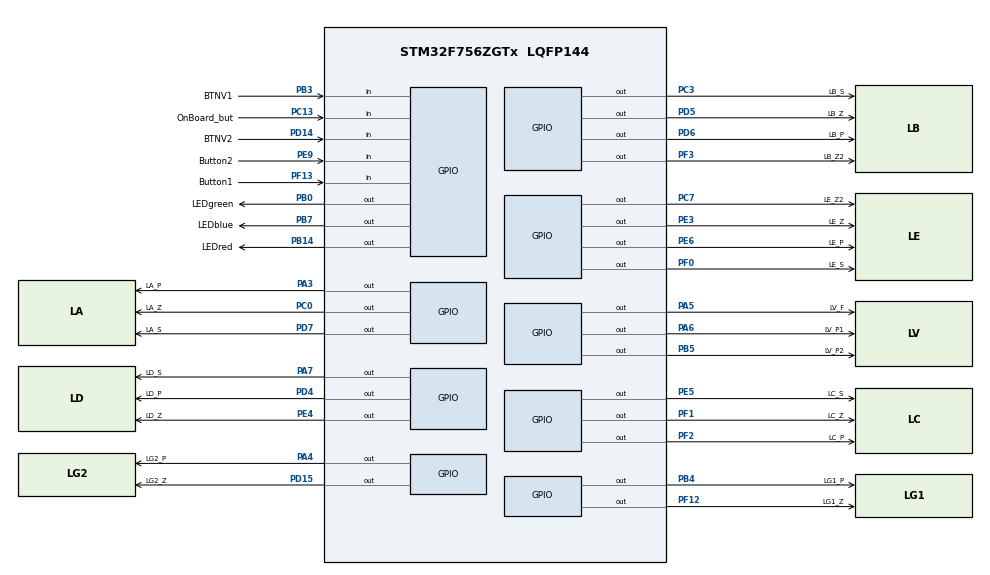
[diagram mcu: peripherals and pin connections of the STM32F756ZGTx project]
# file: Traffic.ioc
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CORTEX_M7.default_mode_Activation=1
Mcu.Family=STM32F7
Mcu.Name=STM32F756ZGTx
Mcu.Package=LQFP144
NVIC.PriorityGroup=NVIC_PRIORITYGROUP_4
NVIC.TIM2_IRQn=true\:0\:0\:false\:false\:true\:true\:true\:true
NVIC.TIM4_IRQn=true\:0\:0\:false\:false\:true\:true\:true\:true
PA3.GPIO_Label=LA_P
PA3.Signal=GPIO_Output
PA4.GPIO_Label=LG2_P
PA4.Signal=GPIO_Output
PA5.GPIO_Label=LV_F
PA5.Signal=GPIO_Output
PA6.GPIO_Label=LV_P1
PA6.Signal=GPIO_Output
PA7.GPIO_Label=LD_S
PA7.Signal=GPIO_Output
PB0.GPIO_Label=LEDgreen
PB0.Signal=GPIO_Output
PB14.GPIO_Label=LEDred
PB14.Signal=GPIO_Output
PB3.GPIO_Label=BTNV1
PB3.GPIO_PuPd=GPIO_NOPULL
PB3.Signal=GPIO_Input
PB4.GPIO_Label=LG1_P
PB4.Signal=GPIO_Output
PB5.GPIO_Label=LV_P2
PB5.Signal=GPIO_Output
PB7.GPIO_Label=LEDblue
PB7.Signal=GPIO_Output
PC0.GPIO_Label=LA_Z
PC0.Signal=GPIO_Output
PC13.GPIO_Label=OnBoard_but
PC13.GPIO_PuPd=GPIO_NOPULL
PC13.Signal=GPIO_Input
PC3.GPIO_Label=LB_S
PC3.Signal=GPIO_Output
PC7.GPIO_Label=LE_Z2
PC7.Signal=GPIO_Output
PD14.GPIO_Label=BTNV2
PD14.GPIO_PuPd=GPIO_NOPULL
PD14.Signal=GPIO_Input
PD15.GPIO_Label=LG2_Z
PD15.Signal=GPIO_Output
PD4.GPIO_Label=LD_P
PD4.Signal=GPIO_Output
PD5.GPIO_Label=LB_Z
PD5.Signal=GPIO_Output
PD6.GPIO_Label=LB_P
PD6.Signal=GPIO_Output
PD7.GPIO_Label=LA_S
PD7.Signal=GPIO_Output
PE3.GPIO_Label=LE_Z
PE3.Signal=GPIO_Output
PE4.GPIO_Label=LD_Z
PE4.Signal=GPIO_Output
PE5.GPIO_Label=LC_S
PE5.Signal=GPIO_Output
PE6.GPIO_Label=LE_P
PE6.Signal=GPIO_Output
PE9.GPIO_Label=Button2
PE9.GPIO_PuPd=GPIO_PULLUP
PE9.Signal=GPIO_Input
PF0.GPIO_Label=LE_S
PF0.Signal=GPIO_Output
PF1.GPIO_Label=LC_Z
PF1.Signal=GPIO_Output
PF12.GPIO_Label=LG1_Z
PF12.Signal=GPIO_Output
PF13.GPIO_Label=Button1
PF13.GPIO_PuPd=GPIO_PULLUP
PF13.Signal=GPIO_Input
PF2.GPIO_Label=LC_P
PF2.Signal=GPIO_Output
PF3.GPIO_Label=LB_Z2
PF3.Signal=GPIO_Output
ProjectManager.HeapSize=0x200
ProjectManager.StackSize=0x400
ProjectManager.TargetToolchain=TrueSTUDIO
RCC.HSE_VALUE=25000000
RCC.HSI_VALUE=16000000
RCC.LSE_VALUE=32768
RCC.USBFreq_Value=96000000
RCC.VCOOutputFreq_Value=192000000
TIM2.Period=4999
TIM2.Prescaler=1599
TIM4.Period=1
TIM4.Prescaler=1599
VP_TIM2_VS_ClockSourceINT.Mode=Internal
VP_TIM4_VS_ClockSourceINT.Mode=Internal
board=custom

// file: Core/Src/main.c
/* USER CODE BEGIN Header */
/**
  ******************************************************************************
  * @file           : main.c
  * @brief          : Main program body
  ******************************************************************************
  * @attention
  *
  * Copyright (c) 2022 STMicroelectronics.
  * All rights reserved.
  *
  * This software is licensed under terms that can be found in the LICENSE file
  * in the root directory of this software component.
  * If no LICENSE file comes with this software, it is provided AS-IS.
  ***-
  ******************************************************************************
  */
/* USER CODE END Header */
#include "main.h"

TIM_HandleTypeDef htim2;
TIM_HandleTypeDef htim4;

/* USER CODE BEGIN PV */
typedef struct allapotok
{
	uint8_t led_a_p;
	uint8_t led_a_s;
	uint8_t led_a_z;

	uint8_t led_b_p;
	uint8_t led_b_s;
	uint8_t led_b_z;
	uint8_t led_b_z2;

	uint8_t led_c_p;
	uint8_t led_c_s;
	uint8_t led_c_z;

	uint8_t led_d_p;
	uint8_t led_d_s;
	uint8_t led_d_z;

	uint8_t led_e_p;
	uint8_t led_e_s;
	uint8_t led_e_z;
	uint8_t led_e_z2;

	uint8_t led_g1_p;
	uint8_t led_g1_z;

	uint8_t led_g2_p;
	uint8_t led_g2_z;

	uint8_t led_v_p1;
	uint8_t led_v_p2;
	uint8_t led_v_f;

	uint8_t szamlalo;
	uint8_t szamlalo_tmp;

}allapot;

typedef struct pwm_allapotok
{
	uint8_t led_g1_z;
	uint8_t led_g2_z;
	uint8_t led_v_p1;
	uint8_t led_v_p2;
	uint8_t led_v_f;

}pwm_allapot;

pwm_allapot led_pwm_allapot={0,0,0,0,1};

//     		a_p,a_s,a_z,b_p,b_s,b_z,b_z2,c_p,c_s,c_z,d_p,d_s,d_z,e_p,e_s,e_z,e_z2,g1_p,g1_z,g2_p,g2_z,v_p1,v_p2,v_f
allapot nappali[10]={
	 /*0*/ {1,  0,  0,  1,  0,  0,  0,   1,  0,  0,  1,  0,  0,  1,  0,  0,  0,   1,   0,   1,   0,   0,   0,   0,  4,  0 },
	 /*9*/ {1,  1,  0,  0,  1,  0,  0,   1,  0,  0,  0,  1,  0,  1,  0,  0,  0,   1,   0,   1,   0,   0,   0,   0,  2,  0 },
	 /*1*/ {0,  0,  1,  1,  0,  0,  0,   1,  0,  0,  1,  0,  0,  1,  0,  0,  0,   0,   1,   1,   0,   0,   0,   0,  10,  0 },
	 /*2*/ {0,  1,  0,  1,  0,  0,  0,   1,  0,  0,  1,  0,  0,  1,  0,  0,  0,   0,   2,   1,   0,   0,   0,   0,  2,  0 },
	 /*3*/ {0,  1,  0,  1,  0,  0,  0,   1,  1,  0,  1,  0,  0,  1,  1,  0,  0,   0,   2,   1,   0,   0,   0,   0,  2,  0 },
	 /*4*/ {1,  0,  0,  1,  0,  0,  0,   0,  0,  1,  1,  0,  0,  0,  0,  1,  1,   1,   0,   0,   1,   0,   0,   0,  10,  0 },
	 /*5*/ {1,  0,  0,  1,  0,  0,  0,   0,  1,  0,  1,  0,  0,  0,  1,  0,  0,   1,   0,   0,   2,   0,   0,   0,  2,  0 },
	 /*6*/ {1,  0,  0,  1,  1,  0,  0,   0,  1,  0,  1,  1,  0,  0,  1,  0,  0,   1,   0,   0,   2,   0,   0,   0,  2,  0 },
	 /*7*/ {1,  0,  0,  0,  0,  1,  1,   1,  0,  0,  0,  0,  1,  1,  0,  0,  0,   1,   0,   1,   0,   0,   0,   0,  10,  0 },
	 /*8*/ {1,  0,  0,  0,  1,  0,  0,   1,  0,  0,  0,  1,  0,  1,  0,  0,  0,   1,   0,   1,   0,   0,   0,   0,  2,  0 }

};

allapot nappali_v[10]={
				/*0*/ {1,  0,  0,  1,  0,  0,  0,   1,  0,  0,  1,  0,  0,  1,  0,  0,  0,   1,   0,   1,   0,   0,   0,   0,  4,  0 },
				/*9*/ {1,  1,  0,  0,  1,  0,  0,   1,  0,  0,  0,  1,  0,  1,  0,  0,  0,   1,   0,   1,   0,   0,   0,   0,  2,  0 },
				/*1*/ {0,  0,  1,  1,  0,  0,  0,   1,  0,  0,  1,  0,  0,  1,  0,  0,  0,   0,   1,   1,   0,   0,   0,   0,  10,  0 },
				/*2*/ {0,  1,  0,  1,  0,  0,  0,   1,  0,  0,  1,  0,  0,  1,  0,  0,  0,   0,   2,   1,   0,   0,   0,   0,  2,  0 },
				/*3*/ {0,  1,  0,  1,  0,  0,  0,   1,  1,  0,  1,  0,  0,  1,  1,  0,  0,   0,   2,   1,   0,   0,   0,   0,  2,  0 },
				/*4*/ {1,  0,  0,  1,  0,  0,  0,   0,  0,  1,  1,  0,  0,  0,  0,  1,  0,   1,   0,   0,   1,   0,   0,   0,  10,  0 },
				/*5*/ {1,  0,  0,  1,  0,  0,  0,   0,  1,  0,  1,  0,  0,  0,  1,  0,  0,   1,   0,   0,   2,   0,   0,   0,  2,  0 },
				/*6*/ {1,  0,  0,  1,  1,  0,  0,   0,  1,  0,  1,  1,  0,  0,  1,  0,  0,   1,   0,   0,   2,   0,   0,   0,  2,  0 },
				/*7*/ {1,  0,  0,  0,  0,  0,  1,   1,  0,  0,  0,  0,  1,  1,  0,  0,  0,   1,   0,   1,   0,   0,   0,   0,  10,  0 },
				/*8*/ {1,  0,  0,  0,  1,  0,  0,   1,  0,  0,  0,  1,  0,  1,  0,  0,  0,   1,   0,   1,   0,   0,   0,   0,  2,  0 }

				 };
int i=0;
uint8_t pwm1=0;
uint8_t pwm2=0;
uint16_t timer0_counter=0;
uint8_t timer0_counter_1=0;
uint8_t timer0_counter_2=0;
uint8_t regi_gomb=0;
uint8_t Jon_a_vonat=0;;//1-> jon a vonat, 0->nincs vonat
uint8_t mod_valasztas=1;//1-> nappali, 0->ejszakasi

/* USER CODE END PV */

void SystemClock_Config(void);
static void MPU_Config(void);
static void MX_GPIO_Init(void);
static void MX_TIM2_Init(void);
static void MX_TIM4_Init(void);
/* USER CODE BEGIN PFP */
void do_traffic(allapot *mod);
void nappali_mod(void);
/* USER CODE END PFP */

/* USER CODE BEGIN 0 */

 if(htim->Instance == htim4.Instance)
  {
	timer0_counter++;
	if(timer0_counter==10000)
		{
			pwm1=0;
			timer0_counter=0;
		}
	if(timer0_counter>5000)
	{
		timer0_counter_1++;
		if(timer0_counter_1==100)
		{
			pwm1++;
			if(pwm1==50) pwm1=0;
			timer0_counter_1=0;
		}
		if(pwm1>timer0_counter_1)
			{
				if(!mod_valasztas)//ejszaka
				{
					HAL_GPIO_WritePin(LA_S_GPIO_Port,LA_S_Pin,1);
					HAL_GPIO_WritePin(LB_S_GPIO_Port,LB_S_Pin,1);
					HAL_GPIO_WritePin(LC_S_GPIO_Port,LC_S_Pin,1);
					HAL_GPIO_WritePin(LD_S_GPIO_Port,LD_S_Pin,1);
					HAL_GPIO_WritePin(LE_S_GPIO_Port,LE_S_Pin,1);
				}
				if (led_pwm_allapot.led_g1_z)
					HAL_GPIO_WritePin(LG1_Z_GPIO_Port,LG1_Z_Pin,1);
				if(led_pwm_allapot.led_g2_z)
					HAL_GPIO_WritePin(LG2_Z_GPIO_Port,LG2_Z_Pin,1);
				if(led_pwm_allapot.led_v_f)
					HAL_GPIO_WritePin(LV_F_GPIO_Port,LV_F_Pin,1);
				if (Jon_a_vonat)
					HAL_GPIO_WritePin(LV_P1_GPIO_Port,LV_P1_Pin,1);
			}
		else
			{
				if(!mod_valasztas)//ejszaka
				{
					HAL_GPIO_WritePin(LA_S_GPIO_Port,LA_S_Pin,0);
					HAL_GPIO_WritePin(LB_S_GPIO_Port,LB_S_Pin,0);
					HAL_GPIO_WritePin(LC_S_GPIO_Port,LC_S_Pin,0);
					HAL_GPIO_WritePin(LD_S_GPIO_Port,LD_S_Pin,0);
					HAL_GPIO_WritePin(LE_S_GPIO_Port,LE_S_Pin,0);
				}
				if (led_pwm_allapot.led_g1_z)
					HAL_GPIO_WritePin(LG1_Z_GPIO_Port,LG1_Z_Pin,0);
				if(led_pwm_allapot.led_g2_z)
					HAL_GPIO_WritePin(LG2_Z_GPIO_Port,LG2_Z_Pin,0);
				if(led_pwm_allapot.led_v_f)
					HAL_GPIO_WritePin(LV_F_GPIO_Port,LV_F_Pin,0);
				if (Jon_a_vonat)
					HAL_GPIO_WritePin(LV_P1_GPIO_Port,LV_P1_Pin,0);
			}

	}
	else
	{
				timer0_counter_2++;
				if(timer0_counter_2==100)
				{
					pwm2++;
					if(pwm2==50) pwm2=0;
					timer0_counter_2=0;
				}
				if(pwm2>timer0_counter_2)
				{
					if(Jon_a_vonat)
					HAL_GPIO_WritePin(LV_P2_GPIO_Port,LV_P2_Pin,1);
				}
				else
				{
					if(Jon_a_vonat)
					HAL_GPIO_WritePin(LV_P2_GPIO_Port,LV_P2_Pin,0);
				}
	}
  }
}
/* USER CODE END 0 */

int main(void)
{

  /* MPU Configuration--------------------------------------------------------*/
  MPU_Config();

  /* MCU Configuration--------------------------------------------------------*/

  /* Reset of all peripherals, Initializes the Flash interface and the Systick. */
  HAL_Init();

  /* Configure the system clock */
  SystemClock_Config();

  /* Initialize all configured peripherals */
  MX_GPIO_Init();
  MX_TIM2_Init();
  MX_TIM4_Init();
  /* USER CODE BEGIN 2 */
  HAL_TIM_Base_Start_IT(&htim2);
  HAL_TIM_Base_Start_IT(&htim4);

  /* USER CODE END 2 */

  /* Infinite loop */
  /* USER CODE BEGIN WHILE */

  uint8_t button_tmp;

  uint8_t regi_vonat_gomb1=0;
  uint8_t vonat_but=0;
  while (1)
  {

	  vonat_but=0;
	  if(!HAL_GPIO_ReadPin(Button1_GPIO_Port,Button1_Pin))
	  {
		  while(!HAL_GPIO_ReadPin(Button1_GPIO_Port,Button1_Pin));
		  vonat_but=1;
	  }

	  if(!HAL_GPIO_ReadPin(Button2_GPIO_Port,Button2_Pin))
	  {
	  	  while(!HAL_GPIO_ReadPin(Button2_GPIO_Port,Button2_Pin));
	  	  vonat_but=2;
	  }
	  if(HAL_GPIO_ReadPin(OnBoard_but_GPIO_Port,OnBoard_but_Pin))
	  {
		  while(HAL_GPIO_ReadPin(OnBoard_but_GPIO_Port,OnBoard_but_Pin));
		  button_tmp=(button_tmp+1)%2;
		  switch(button_tmp)
		  			{
		  				case 0: mod_valasztas=1; i=0; break;
		  				case 1:

		  				HAL_GPIO_WritePin(LA_P_GPIO_Port, LA_P_Pin, 0);
		  				HAL_GPIO_WritePin(LA_S_GPIO_Port, LA_S_Pin, 0);
		  				HAL_GPIO_WritePin(LA_Z_GPIO_Port, LA_Z_Pin, 0);
		  				HAL_GPIO_WritePin(LB_P_GPIO_Port, LB_P_Pin, 0);
		  				HAL_GPIO_WritePin(LB_S_GPIO_Port, LB_S_Pin, 0);
		  				HAL_GPIO_WritePin(LB_Z_GPIO_Port, LB_Z_Pin, 0);
		  				HAL_GPIO_WritePin(LB_Z2_GPIO_Port,LB_Z2_Pin, 0);
		  				HAL_GPIO_WritePin(LD_P_GPIO_Port, LD_P_Pin, 0);
		  				HAL_GPIO_WritePin(LD_S_GPIO_Port, LD_S_Pin, 0);
		  				HAL_GPIO_WritePin(LD_Z_GPIO_Port, LD_Z_Pin, 0);
		  				HAL_GPIO_WritePin(LC_P_GPIO_Port, LC_P_Pin, 0);
		  				HAL_GPIO_WritePin(LC_S_GPIO_Port, LC_S_Pin, 0);
		  				HAL_GPIO_WritePin(LC_Z_GPIO_Port, LC_Z_Pin, 0);
		  				HAL_GPIO_WritePin(LE_P_GPIO_Port, LE_P_Pin, 0);
		  				HAL_GPIO_WritePin(LE_S_GPIO_Port, LE_S_Pin, 0);
		  				HAL_GPIO_WritePin(LE_Z_GPIO_Port, LE_Z_Pin, 0);
		  				HAL_GPIO_WritePin(LE_Z2_GPIO_Port, LE_Z2_Pin, 0);
		  				HAL_GPIO_WritePin(LG1_P_GPIO_Port, LG1_P_Pin, 0);
		  				HAL_GPIO_WritePin(LG2_P_GPIO_Port, LG2_P_Pin, 0);
		  				HAL_GPIO_WritePin(LG1_Z_GPIO_Port, LG1_Z_Pin, 0);
		  				HAL_GPIO_WritePin(LG2_Z_GPIO_Port, LG2_Z_Pin, 0);
		  				mod_valasztas=0; i=0; break;
		  				default: break;
		  			}

	  }

		if(vonat_but)
		{
			if((!Jon_a_vonat)&&(!regi_vonat_gomb1))
			{
				regi_vonat_gomb1=vonat_but;
				Jon_a_vonat=1;
				HAL_GPIO_WritePin(LV_F_GPIO_Port,LV_F_Pin,0);
				led_pwm_allapot.led_v_f=0;
			}
			if(Jon_a_vonat&&(regi_vonat_gomb1!=vonat_but))
			{
				regi_vonat_gomb1=0;
				Jon_a_vonat=0;
				HAL_GPIO_WritePin(LV_P1_GPIO_Port,LV_P1_Pin,0);
				HAL_GPIO_WritePin(LV_P2_GPIO_Port,LV_P2_Pin,0);
				led_pwm_allapot.led_v_f=1;
			}

		}

    /* USER CODE END WHILE */

  }
}

void SystemClock_Config(void)
{
  RCC_OscInitTypeDef RCC_OscInitStruct = {0};
  RCC_ClkInitTypeDef RCC_ClkInitStruct = {0};

  /** Configure the main internal regulator output voltage
  */
  __HAL_RCC_PWR_CLK_ENABLE();
  __HAL_PWR_VOLTAGESCALING_CONFIG(PWR_REGULATOR_VOLTAGE_SCALE3);

  /** Initializes the RCC Oscillators according to the specified parameters
  * in the RCC_OscInitTypeDef structure.
  */
  RCC_OscInitStruct.OscillatorType = RCC_OSCILLATORTYPE_HSI;
  RCC_OscInitStruct.HSIState = RCC_HSI_ON;
  RCC_OscInitStruct.HSICalibrationValue = RCC_HSICALIBRATION_DEFAULT;
  RCC_OscInitStruct.PLL.PLLState = RCC_PLL_NONE;
  if (HAL_RCC_OscConfig(&RCC_OscInitStruct) != HAL_OK)
  {
    Error_Handler();
  }

  /** Initializes the CPU, AHB and APB buses clocks
  */
  RCC_ClkInitStruct.ClockType = RCC_CLOCKTYPE_HCLK|RCC_CLOCKTYPE_SYSCLK
                              |RCC_CLOCKTYPE_PCLK1|RCC_CLOCKTYPE_PCLK2;
  RCC_ClkInitStruct.SYSCLKSource = RCC_SYSCLKSOURCE_HSI;
  RCC_ClkInitStruct.AHBCLKDivider = RCC_SYSCLK_DIV1;
  RCC_ClkInitStruct.APB1CLKDivider = RCC_HCLK_DIV1;
  RCC_ClkInitStruct.APB2CLKDivider = RCC_HCLK_DIV1;

  if (HAL_RCC_ClockConfig(&RCC_ClkInitStruct, FLASH_LATENCY_0) != HAL_OK)
  {
    Error_Handler();
  }
}

static void MX_TIM2_Init(void)
{

  TIM_ClockConfigTypeDef sClockSourceConfig = {0};
  TIM_MasterConfigTypeDef sMasterConfig = {0};

  htim2.Instance = TIM2;
  htim2.Init.Prescaler = 1599;
  htim2.Init.CounterMode = TIM_COUNTERMODE_UP;
  htim2.Init.Period = 4999;
  htim2.Init.ClockDivision = TIM_CLOCKDIVISION_DIV1;
  htim2.Init.AutoReloadPreload = TIM_AUTORELOAD_PRELOAD_DISABLE;
  if (HAL_TIM_Base_Init(&htim2) != HAL_OK)
  {
    Error_Handler();
  }
  sClockSourceConfig.ClockSource = TIM_CLOCKSOURCE_INTERNAL;
  if (HAL_TIM_ConfigClockSource(&htim2, &sClockSourceConfig) != HAL_OK)
  {
    Error_Handler();
  }
  sMasterConfig.MasterOutputTrigger = TIM_TRGO_RESET;
  sMasterConfig.MasterSlaveMode = TIM_MASTERSLAVEMODE_DISABLE;
  if (HAL_TIMEx_MasterConfigSynchronization(&htim2, &sMasterConfig) != HAL_OK)
  {
    Error_Handler();
  }

}

static void MX_TIM4_Init(void)
{

  TIM_ClockConfigTypeDef sClockSourceConfig = {0};
  TIM_MasterConfigTypeDef sMasterConfig = {0};

  htim4.Instance = TIM4;
  htim4.Init.Prescaler = 1599;
  htim4.Init.CounterMode = TIM_COUNTERMODE_UP;
  htim4.Init.Period = 1;
  htim4.Init.ClockDivision = TIM_CLOCKDIVISION_DIV1;
  htim4.Init.AutoReloadPreload = TIM_AUTORELOAD_PRELOAD_DISABLE;
  if (HAL_TIM_Base_Init(&htim4) != HAL_OK)
  {
    Error_Handler();
  }
  sClockSourceConfig.ClockSource = TIM_CLOCKSOURCE_INTERNAL;
  if (HAL_TIM_ConfigClockSource(&htim4, &sClockSourceConfig) != HAL_OK)
  {
    Error_Handler();
  }
  sMasterConfig.MasterOutputTrigger = TIM_TRGO_RESET;
  sMasterConfig.MasterSlaveMode = TIM_MASTERSLAVEMODE_DISABLE;
  if (HAL_TIMEx_MasterConfigSynchronization(&htim4, &sMasterConfig) != HAL_OK)
  {
    Error_Handler();
  }

}

static void MX_GPIO_Init(void)
{
  GPIO_InitTypeDef GPIO_InitStruct = {0};

  /* GPIO Ports Clock Enable */
  __HAL_RCC_GPIOE_CLK_ENABLE();
  __HAL_RCC_GPIOC_CLK_ENABLE();
  __HAL_RCC_GPIOF_CLK_ENABLE();
  __HAL_RCC_GPIOA_CLK_ENABLE();
  __HAL_RCC_GPIOB_CLK_ENABLE();
  __HAL_RCC_GPIOD_CLK_ENABLE();

  /*Configure GPIO pin Output Level */
  HAL_GPIO_WritePin(GPIOE, LE_Z_Pin|LD_Z_Pin|LC_S_Pin|LE_P_Pin, GPIO_PIN_RESET);

  /*Configure GPIO pin Output Level */
  HAL_GPIO_WritePin(GPIOF, LE_S_Pin|LC_Z_Pin|LC_P_Pin|LB_Z2_Pin
                          |LG1_Z_Pin, GPIO_PIN_RESET);

  /*Configure GPIO pin Output Level */
  HAL_GPIO_WritePin(GPIOC, LA_Z_Pin|LB_S_Pin|LE_Z2_Pin, GPIO_PIN_RESET);

  /*Configure GPIO pin Output Level */
  HAL_GPIO_WritePin(GPIOA, LA_P_Pin|LG2_P_Pin|LV_F_Pin|LV_P1_Pin
                          |LD_S_Pin, GPIO_PIN_RESET);

  /*Configure GPIO pin Output Level */
  HAL_GPIO_WritePin(GPIOB, LEDgreen_Pin|LEDred_Pin|LG1_P_Pin|LV_P2_Pin
                          |LEDblue_Pin, GPIO_PIN_RESET);

  /*Configure GPIO pin Output Level */
  HAL_GPIO_WritePin(GPIOD, LG2_Z_Pin|LD_P_Pin|LB_Z_Pin|LB_P_Pin
                          |LA_S_Pin, GPIO_PIN_RESET);

  /*Configure GPIO pins : LE_Z_Pin LD_Z_Pin LC_S_Pin LE_P_Pin */
  GPIO_InitStruct.Pin = LE_Z_Pin|LD_Z_Pin|LC_S_Pin|LE_P_Pin;
  GPIO_InitStruct.Mode = GPIO_MODE_OUTPUT_PP;
  GPIO_InitStruct.Pull = GPIO_NOPULL;
  GPIO_InitStruct.Speed = GPIO_SPEED_FREQ_LOW;
  HAL_GPIO_Init(GPIOE, &GPIO_InitStruct);

  /*Configure GPIO pin : OnBoard_but_Pin */
  GPIO_InitStruct.Pin = OnBoard_but_Pin;
  GPIO_InitStruct.Mode = GPIO_MODE_INPUT;
  GPIO_InitStruct.Pull = GPIO_NOPULL;
  HAL_GPIO_Init(OnBoard_but_GPIO_Port, &GPIO_InitStruct);

  /*Configure GPIO pins : LE_S_Pin LC_Z_Pin LC_P_Pin LB_Z2_Pin
                           LG1_Z_Pin */
  GPIO_InitStruct.Pin = LE_S_Pin|LC_Z_Pin|LC_P_Pin|LB_Z2_Pin
                          |LG1_Z_Pin;
  GPIO_InitStruct.Mode = GPIO_MODE_OUTPUT_PP;
  GPIO_InitStruct.Pull = GPIO_NOPULL;
  GPIO_InitStruct.Speed = GPIO_SPEED_FREQ_LOW;
  HAL_GPIO_Init(GPIOF, &GPIO_InitStruct);

  /*Configure GPIO pins : LA_Z_Pin LB_S_Pin LE_Z2_Pin */
  GPIO_InitStruct.Pin = LA_Z_Pin|LB_S_Pin|LE_Z2_Pin;
  GPIO_InitStruct.Mode = GPIO_MODE_OUTPUT_PP;
  GPIO_InitStruct.Pull = GPIO_NOPULL;
  GPIO_InitStruct.Speed = GPIO_SPEED_FREQ_LOW;
  HAL_GPIO_Init(GPIOC, &GPIO_InitStruct);

  /*Configure GPIO pins : LA_P_Pin LG2_P_Pin LV_F_Pin LV_P1_Pin
                           LD_S_Pin */
  GPIO_InitStruct.Pin = LA_P_Pin|LG2_P_Pin|LV_F_Pin|LV_P1_Pin
                          |LD_S_Pin;
  GPIO_InitStruct.Mode = GPIO_MODE_OUTPUT_PP;
  GPIO_InitStruct.Pull = GPIO_NOPULL;
  GPIO_InitStruct.Speed = GPIO_SPEED_FREQ_LOW;
  HAL_GPIO_Init(GPIOA, &GPIO_InitStruct);

  /*Configure GPIO pins : LEDgreen_Pin LEDred_Pin LG1_P_Pin LV_P2_Pin
                           LEDblue_Pin */
  GPIO_InitStruct.Pin = LEDgreen_Pin|LEDred_Pin|LG1_P_Pin|LV_P2_Pin
                          |LEDblue_Pin;
  GPIO_InitStruct.Mode = GPIO_MODE_OUTPUT_PP;
  GPIO_InitStruct.Pull = GPIO_NOPULL;
  GPIO_InitStruct.Speed = GPIO_SPEED_FREQ_LOW;
  HAL_GPIO_Init(GPIOB, &GPIO_InitStruct);

  /*Configure GPIO pin : Button1_Pin */
  GPIO_InitStruct.Pin = Button1_Pin;
  GPIO_InitStruct.Mode = GPIO_MODE_INPUT;
  GPIO_InitStruct.Pull = GPIO_PULLUP;
  HAL_GPIO_Init(Button1_GPIO_Port, &GPIO_InitStruct);

  /*Configure GPIO pin : Button2_Pin */
  GPIO_InitStruct.Pin = Button2_Pin;
  GPIO_InitStruct.Mode = GPIO_MODE_INPUT;
  GPIO_InitStruct.Pull = GPIO_PULLUP;
  HAL_GPIO_Init(Button2_GPIO_Port, &GPIO_InitStruct);

  /*Configure GPIO pin : BTNV2_Pin */
  GPIO_InitStruct.Pin = BTNV2_Pin;
  GPIO_InitStruct.Mode = GPIO_MODE_INPUT;
  GPIO_InitStruct.Pull = GPIO_NOPULL;
  HAL_GPIO_Init(BTNV2_GPIO_Port, &GPIO_InitStruct);

  /*Configure GPIO pins : LG2_Z_Pin LD_P_Pin LB_Z_Pin LB_P_Pin
                           LA_S_Pin */
  GPIO_InitStruct.Pin = LG2_Z_Pin|LD_P_Pin|LB_Z_Pin|LB_P_Pin
                          |LA_S_Pin;
  GPIO_InitStruct.Mode = GPIO_MODE_OUTPUT_PP;
  GPIO_InitStruct.Pull = GPIO_NOPULL;
  GPIO_InitStruct.Speed = GPIO_SPEED_FREQ_LOW;
  HAL_GPIO_Init(GPIOD, &GPIO_InitStruct);

  /*Configure GPIO pin : BTNV1_Pin */
  GPIO_InitStruct.Pin = BTNV1_Pin;
  GPIO_InitStruct.Mode = GPIO_MODE_INPUT;
  GPIO_InitStruct.Pull = GPIO_NOPULL;
  HAL_GPIO_Init(BTNV1_GPIO_Port, &GPIO_InitStruct);

}

/* USER CODE BEGIN 4 */

void do_traffic(allapot *mod)
{
	HAL_GPIO_WritePin(LA_P_GPIO_Port, LA_P_Pin, mod[i].led_a_p);
	HAL_GPIO_WritePin(LA_S_GPIO_Port, LA_S_Pin, mod[i].led_a_s);
	HAL_GPIO_WritePin(LA_Z_GPIO_Port, LA_Z_Pin, mod[i].led_a_z);
	HAL_GPIO_WritePin(LB_P_GPIO_Port, LB_P_Pin, mod[i].led_b_p);
	HAL_GPIO_WritePin(LB_S_GPIO_Port, LB_S_Pin, mod[i].led_b_s);
	HAL_GPIO_WritePin(LB_Z_GPIO_Port, LB_Z_Pin, mod[i].led_b_z);
	HAL_GPIO_WritePin(LB_Z2_GPIO_Port,LB_Z2_Pin, mod[i].led_b_z2);
	HAL_GPIO_WritePin(LD_P_GPIO_Port, LD_P_Pin, mod[i].led_d_p);
	/*
	PORTA=(mod[i].led_a_p<<LA_P)|
	(mod[i].led_a_s<<LA_S)|
	(mod[i].led_a_z<<LA_Z)|
	(mod[i].led_b_p<<LB_P)|
	(mod[i].led_b_s<<LB_S)|
	(mod[i].led_b_z<<LB_Z)|
	(mod[i].led_b_z2<<LB_Z2)|
	(mod[i].led_d_p<<LD_P);
	*/

	HAL_GPIO_WritePin(LD_S_GPIO_Port, LD_S_Pin, mod[i].led_d_s);
	HAL_GPIO_WritePin(LD_Z_GPIO_Port, LD_Z_Pin, mod[i].led_d_z);
	HAL_GPIO_WritePin(LC_P_GPIO_Port, LC_P_Pin, mod[i].led_c_p);
	HAL_GPIO_WritePin(LC_S_GPIO_Port, LC_S_Pin, mod[i].led_c_s);
	HAL_GPIO_WritePin(LC_Z_GPIO_Port, LC_Z_Pin, mod[i].led_c_z);
	HAL_GPIO_WritePin(LE_P_GPIO_Port, LE_P_Pin, mod[i].led_e_p);
	HAL_GPIO_WritePin(LE_S_GPIO_Port, LE_S_Pin, mod[i].led_e_s);
	HAL_GPIO_WritePin(LE_Z_GPIO_Port, LE_Z_Pin, mod[i].led_e_z);
	HAL_GPIO_WritePin(LE_Z2_GPIO_Port, LE_Z2_Pin, mod[i].led_e_z2);
	HAL_GPIO_WritePin(LG1_P_GPIO_Port, LG1_P_Pin, mod[i].led_g1_p);
	HAL_GPIO_WritePin(LG2_P_GPIO_Port, LG2_P_Pin, mod[i].led_g2_p);
	/*
	PORTC=(mod[i].led_d_s<<LD_S)|
	(mod[i].led_d_z<<LD_Z)|
	(mod[i].led_c_p<<LC_P)|
	(mod[i].led_c_s<<LC_S)|
	(mod[i].led_c_z<<LC_Z)|
	(mod[i].led_e_p<<LE_P)|
	(mod[i].led_e_s<<LE_S)|
	(mod[i].led_e_z<<LE_Z);
	*/
}

void nappali_mod(void)
{

	if(i==0)
	{
		if(Jon_a_vonat)
			do_traffic(nappali_v);
		else
			do_traffic(nappali);
	}
	if(nappali[i].szamlalo_tmp<nappali[i].szamlalo)
	{
		nappali[i].szamlalo_tmp++;
	}

	else
	{
		nappali[i].szamlalo_tmp=0;
		i++;
		if(i==10)i=1;

		if(Jon_a_vonat)
			do_traffic(nappali_v);
		else
			do_traffic(nappali);
	}

	if(nappali[i].led_g1_z==2)led_pwm_allapot.led_g1_z=1;
	else if(nappali[i].led_g1_z==1) HAL_GPIO_WritePin(LG1_Z_GPIO_Port,LG1_Z_Pin,1);
	else
	{
      led_pwm_allapot.led_g1_z=0;

      HAL_GPIO_WritePin(LG1_Z_GPIO_Port,LG1_Z_Pin,0);
	}
	if(nappali[i].led_g2_z==2)led_pwm_allapot.led_g2_z=1;
	else if(nappali[i].led_g2_z==1)HAL_GPIO_WritePin(LG2_Z_GPIO_Port,LG2_Z_Pin,1);
	else
	{
		led_pwm_allapot.led_g2_z=0;
		HAL_GPIO_WritePin(LG2_Z_GPIO_Port,LG2_Z_Pin,0);
	}
}

/* USER CODE END 4 */

/* MPU Configuration */

void MPU_Config(void)
{
  MPU_Region_InitTypeDef MPU_InitStruct = {0};

  /* Disables the MPU */
  HAL_MPU_Disable();

  /** Initializes and configures the Region and the memory to be protected
  */
  MPU_InitStruct.Enable = MPU_REGION_ENABLE;
  MPU_InitStruct.Number = MPU_REGION_NUMBER0;
  MPU_InitStruct.BaseAddress = 0x0;
  MPU_InitStruct.Size = MPU_REGION_SIZE_4GB;
  MPU_InitStruct.SubRegionDisable = 0x87;
  MPU_InitStruct.TypeExtField = MPU_TEX_LEVEL0;
  MPU_InitStruct.AccessPermission = MPU_REGION_NO_ACCESS;
  MPU_InitStruct.DisableExec = MPU_INSTRUCTION_ACCESS_DISABLE;
  MPU_InitStruct.IsShareable = MPU_ACCESS_SHAREABLE;
  MPU_InitStruct.IsCacheable = MPU_ACCESS_NOT_CACHEABLE;
  MPU_InitStruct.IsBufferable = MPU_ACCESS_NOT_BUFFERABLE;

  HAL_MPU_ConfigRegion(&MPU_InitStruct);
  /* Enables the MPU */
  HAL_MPU_Enable(MPU_PRIVILEGED_DEFAULT);

}

void Error_Handler(void)
{
  __disable_irq();
  while (1)
  {
  }
}
